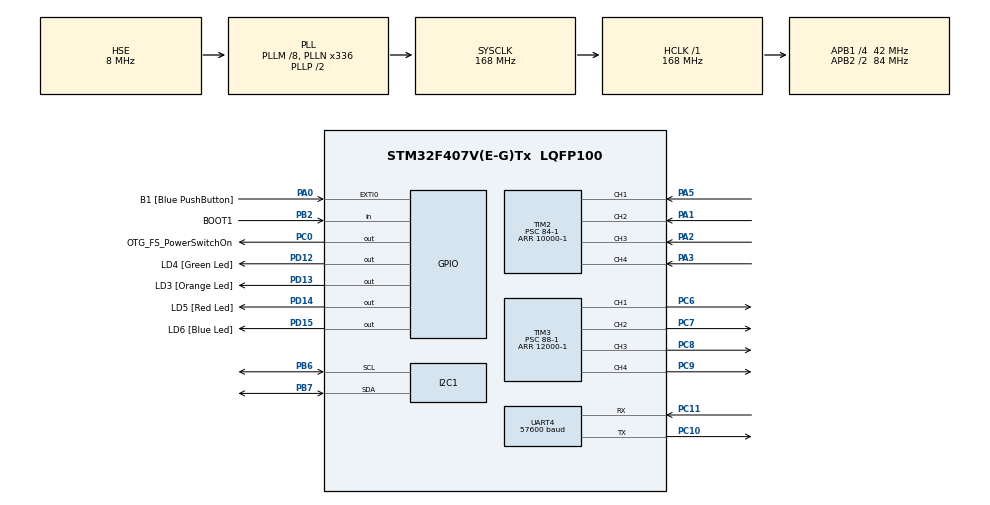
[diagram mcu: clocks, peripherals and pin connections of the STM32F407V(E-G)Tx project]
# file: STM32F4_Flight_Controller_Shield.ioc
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I2C1.DutyCycle=I2C_DUTYCYCLE_16_9
I2C1.I2C_Mode=I2C_Fast
Mcu.Family=STM32F4
Mcu.Name=STM32F407V(E-G)Tx
Mcu.Package=LQFP100
NVIC.FLASH_IRQn=true\:0\:0\:false\:false\:true\:true\:true
NVIC.I2C1_EV_IRQn=true\:0\:0\:false\:false\:true\:true\:true
NVIC.PriorityGroup=NVIC_PRIORITYGROUP_0
NVIC.TIM2_IRQn=true\:0\:0\:false\:false\:true\:true\:true
NVIC.TIM3_IRQn=true\:0\:0\:false\:false\:true\:true\:true
NVIC.UART4_IRQn=true\:0\:0\:false\:false\:true\:true\:true
PA0-WKUP.GPIO_Label=B1 [Blue PushButton]
PA0-WKUP.GPIO_ModeDefaultEXTI=GPIO_MODE_EVT_RISING
PA0-WKUP.GPIO_PuPd=GPIO_NOPULL
PA0-WKUP.Signal=GPXTI0
PA1.GPIO_Speed=GPIO_SPEED_FREQ_VERY_HIGH
PA1.Signal=S_TIM2_CH2
PA13.GPIO_Label=SWDIO
PA13.Mode=Serial_Wire
PA13.Signal=SYS_JTMS-SWDIO
PA14.GPIO_Label=SWCLK
PA14.Mode=Serial_Wire
PA14.Signal=SYS_JTCK-SWCLK
PA2.GPIO_Speed=GPIO_SPEED_FREQ_VERY_HIGH
PA2.Signal=S_TIM2_CH3
PA3.GPIO_Speed=GPIO_SPEED_FREQ_VERY_HIGH
PA3.Signal=S_TIM2_CH4
PA5.GPIO_Speed=GPIO_SPEED_FREQ_VERY_HIGH
PA5.Signal=S_TIM2_CH1_ETR
PB2.GPIO_Label=BOOT1
PB2.GPIO_Mode=GPIO_MODE_INPUT
PB2.GPIO_PuPd=GPIO_NOPULL
PB2.Signal=GPIO_Input
PB6.Mode=I2C
PB6.Signal=I2C1_SCL
PB7.Mode=I2C
PB7.Signal=I2C1_SDA
PC0.GPIO_Label=OTG_FS_PowerSwitchOn
PC0.GPIO_PuPd=GPIO_NOPULL
PC0.GPIO_Speed=GPIO_SPEED_FREQ_LOW
PC0.PinState=GPIO_PIN_SET
PC0.Signal=GPIO_Output
PC10.Mode=Asynchronous
PC10.Signal=UART4_TX
PC11.Mode=Asynchronous
PC11.Signal=UART4_RX
PC14-OSC32_IN.GPIO_Label=PC14-OSC32_IN
PC14-OSC32_IN.Mode=LSE-External-Oscillator
PC14-OSC32_IN.Signal=RCC_OSC32_IN
PC15-OSC32_OUT.GPIO_Label=PC15-OSC32_OUT
PC15-OSC32_OUT.Mode=LSE-External-Oscillator
PC15-OSC32_OUT.Signal=RCC_OSC32_OUT
PC6.GPIO_Speed=GPIO_SPEED_FREQ_VERY_HIGH
PC6.Signal=S_TIM3_CH1
PC7.GPIO_Speed=GPIO_SPEED_FREQ_VERY_HIGH
PC7.Signal=S_TIM3_CH2
PC8.GPIO_Speed=GPIO_SPEED_FREQ_VERY_HIGH
PC8.Signal=S_TIM3_CH3
PC9.GPIO_Speed=GPIO_SPEED_FREQ_VERY_HIGH
PC9.Signal=S_TIM3_CH4
PD12.GPIO_Label=LD4 [Green Led]
PD12.GPIO_PuPd=GPIO_NOPULL
PD12.GPIO_Speed=GPIO_SPEED_FREQ_LOW
PD12.Signal=GPIO_Output
PD13.GPIO_Label=LD3 [Orange Led]
PD13.GPIO_PuPd=GPIO_NOPULL
PD13.GPIO_Speed=GPIO_SPEED_FREQ_LOW
PD13.Signal=GPIO_Output
PD14.GPIO_Label=LD5 [Red Led]
PD14.GPIO_PuPd=GPIO_NOPULL
PD14.GPIO_Speed=GPIO_SPEED_FREQ_LOW
PD14.Signal=GPIO_Output
PD15.GPIO_Label=LD6 [Blue Led]
PD15.GPIO_PuPd=GPIO_NOPULL
PD15.GPIO_Speed=GPIO_SPEED_FREQ_LOW
PD15.Signal=GPIO_Output
PH0-OSC_IN.GPIO_Label=PH0-OSC_IN
PH0-OSC_IN.Mode=HSE-External-Oscillator
PH0-OSC_IN.Signal=RCC_OSC_IN
PH1-OSC_OUT.GPIO_Label=PH1-OSC_OUT
PH1-OSC_OUT.Mode=HSE-External-Oscillator
PH1-OSC_OUT.Signal=RCC_OSC_OUT
ProjectManager.HeapSize=0x200
ProjectManager.StackSize=0x400
ProjectManager.TargetToolchain=STM32CubeIDE
RCC.48MHZClocksFreq_Value=48000000
RCC.AHBFreq_Value=168000000
RCC.APB1CLKDivider=RCC_HCLK_DIV4
RCC.APB1Freq_Value=42000000
RCC.APB1TimFreq_Value=84000000
RCC.APB2CLKDivider=RCC_HCLK_DIV2
RCC.APB2Freq_Value=84000000
RCC.APB2TimFreq_Value=168000000
RCC.CortexFreq_Value=168000000
RCC.HCLKFreq_Value=168000000
RCC.HSE_VALUE=8000000
RCC.HSI_VALUE=16000000
RCC.PLLM=8
RCC.PLLN=336
RCC.PLLQ=7
RCC.PLLSourceVirtual=RCC_PLLSOURCE_HSE
RCC.SYSCLKFreq_VALUE=168000000
RCC.SYSCLKSource=RCC_SYSCLKSOURCE_PLLCLK
RCC.VCOOutputFreq_Value=336000000
SH.S_TIM2_CH1_ETR.0=TIM2_CH1,Input_Capture1_from_TI1
SH.S_TIM2_CH2.0=TIM2_CH2,Input_Capture2_from_TI2
SH.S_TIM2_CH3.0=TIM2_CH3,Input_Capture3_from_TI3
SH.S_TIM2_CH4.0=TIM2_CH4,Input_Capture4_from_TI4
SH.S_TIM3_CH1.0=TIM3_CH1,PWM Generation1 CH1
SH.S_TIM3_CH2.0=TIM3_CH2,PWM Generation2 CH2
SH.S_TIM3_CH3.0=TIM3_CH3,PWM Generation3 CH3
SH.S_TIM3_CH4.0=TIM3_CH4,PWM Generation4 CH4
TIM2.Channel-Input_Capture1_from_TI1=TIM_CHANNEL_1
TIM2.Channel-Input_Capture2_from_TI2=TIM_CHANNEL_2
TIM2.Channel-Input_Capture3_from_TI3=TIM_CHANNEL_3
TIM2.Channel-Input_Capture4_from_TI4=TIM_CHANNEL_4
TIM2.Period=10000-1
TIM2.Prescaler=84-1
TIM3.Channel-PWM\ Generation1\ CH1=TIM_CHANNEL_1
TIM3.Channel-PWM\ Generation2\ CH2=TIM_CHANNEL_2
TIM3.Channel-PWM\ Generation3\ CH3=TIM_CHANNEL_3
TIM3.Channel-PWM\ Generation4\ CH4=TIM_CHANNEL_4
TIM3.OCFastMode_PWM-PWM\ Generation1\ CH1=TIM_OCFAST_ENABLE
TIM3.OCFastMode_PWM-PWM\ Generation2\ CH2=TIM_OCFAST_ENABLE
TIM3.OCFastMode_PWM-PWM\ Generation3\ CH3=TIM_OCFAST_ENABLE
TIM3.OCFastMode_PWM-PWM\ Generation4\ CH4=TIM_OCFAST_ENABLE
TIM3.Period=12000-1
TIM3.Prescaler=88-1
TIM3.Pulse-PWM\ Generation1\ CH1=1000
TIM3.Pulse-PWM\ Generation2\ CH2=1000
TIM3.Pulse-PWM\ Generation3\ CH3=1000
TIM3.Pulse-PWM\ Generation4\ CH4=1000
UART4.BaudRate=57600
UART4.VirtualMode=Asynchronous
VP_TIM3_VS_ClockSourceINT.Mode=Internal
board=STM32F407G-DISC1

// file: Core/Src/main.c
/* USER CODE BEGIN Header */
/**
  ******************************************************************************
  * @file           : main.c
  * @brief          : Main program body
  ******************************************************************************
  * @attention
  *
  * <h2><center>&copy; Copyright (c) 2020 STMicroelectronics.
  * All rights reserved.</center></h2>
  *
  * This software component is licensed by ST under Ultimate Liberty license
  * SLA0044, the "License"; You may not use this file except in compliance with
  * the License. You may obtain a copy of the License at:
  *                             www.st.com/SLA0044
  *
  ******************************************************************************
  */
/* USER CODE END Header */

#include "main.h"

/* USER CODE BEGIN Includes */
#include "PWM_IC.h"
#include "L3GD20H.h"
///
#include "Setup_FC.h"
#include "ESC_Calibration.h"
#include "Flight_Control.h"

/* USER CODE END Includes */

/* USER CODE BEGIN PTD */
char uartTX[101];
///	Inputs
int receiver_input_channel_1, receiver_input_channel_2, receiver_input_channel_3, receiver_input_channel_4;
int16_t gX_Raw, gY_Raw, gZ_Raw;
///
bool gyro_error = false;
///	Outputs
int esc_1, esc_2, esc_3, esc_4;
double gyro_pitch, gyro_roll, gyro_yaw;
///
uint8_t eeprom_data[32] = {0,0,0,0,0,0,0,0,0,0,0,0,0,0,0,0,0,0,0,0,0,0,0,0,0,0,0,0,0,0,0,0};
/* USER CODE END PTD */

I2C_HandleTypeDef hi2c1;

TIM_HandleTypeDef htim2;
TIM_HandleTypeDef htim3;

UART_HandleTypeDef huart4;

void SystemClock_Config(void);
static void MX_GPIO_Init(void);
static void MX_I2C1_Init(void);
static void MX_TIM2_Init(void);
static void MX_TIM3_Init(void);
static void MX_UART4_Init(void);

int main(void)
{

  /* MCU Configuration--------------------------------------------------------*/

  /* Reset of all peripherals, Initializes the Flash interface and the Systick. */
  HAL_Init();

  /* Configure the system clock */
  SystemClock_Config();

  /* USER CODE BEGIN SysInit */
  HAL_Delay( 2500 );
  /* USER CODE END SysInit */

  /* Initialize all configured peripherals */
  MX_GPIO_Init();
  MX_I2C1_Init();
  MX_TIM2_Init();
  MX_TIM3_Init();
  MX_UART4_Init();
  /* USER CODE BEGIN 2 */

	// Flash to EEPROM Array
	Flash_EEPROM_Data_Read( 11, 0x080E0000,  0, &eeprom_data[0]);
	Flash_EEPROM_Data_Read( 11, 0x080E0000,  1, &eeprom_data[1]);
	Flash_EEPROM_Data_Read( 11, 0x080E0000,  2, &eeprom_data[2]);
	Flash_EEPROM_Data_Read( 11, 0x080E0000,  3, &eeprom_data[3]);
	Flash_EEPROM_Data_Read( 11, 0x080E0000,  4, &eeprom_data[4]);
	Flash_EEPROM_Data_Read( 11, 0x080E0000,  5, &eeprom_data[5]);
	Flash_EEPROM_Data_Read( 11, 0x080E0000,  6, &eeprom_data[6]);
	Flash_EEPROM_Data_Read( 11, 0x080E0000,  7, &eeprom_data[7]);
	Flash_EEPROM_Data_Read( 11, 0x080E0000,  8, &eeprom_data[8]);
	Flash_EEPROM_Data_Read( 11, 0x080E0000,  9, &eeprom_data[9]);
	Flash_EEPROM_Data_Read( 11, 0x080E0000, 10, &eeprom_data[10]);
	Flash_EEPROM_Data_Read( 11, 0x080E0000, 11, &eeprom_data[11]);
	Flash_EEPROM_Data_Read( 11, 0x080E0000, 12, &eeprom_data[12]);
	Flash_EEPROM_Data_Read( 11, 0x080E0000, 13, &eeprom_data[13]);
	Flash_EEPROM_Data_Read( 11, 0x080E0000, 14, &eeprom_data[14]);
	Flash_EEPROM_Data_Read( 11, 0x080E0000, 15, &eeprom_data[15]);
	Flash_EEPROM_Data_Read( 11, 0x080E0000, 16, &eeprom_data[16]);
	Flash_EEPROM_Data_Read( 11, 0x080E0000, 17, &eeprom_data[17]);
	Flash_EEPROM_Data_Read( 11, 0x080E0000, 18, &eeprom_data[18]);
	Flash_EEPROM_Data_Read( 11, 0x080E0000, 19, &eeprom_data[19]);
	Flash_EEPROM_Data_Read( 11, 0x080E0000, 20, &eeprom_data[20]);
	Flash_EEPROM_Data_Read( 11, 0x080E0000, 21, &eeprom_data[21]);
	Flash_EEPROM_Data_Read( 11, 0x080E0000, 22, &eeprom_data[22]);
	Flash_EEPROM_Data_Read( 11, 0x080E0000, 23, &eeprom_data[23]);
	Flash_EEPROM_Data_Read( 11, 0x080E0000, 24, &eeprom_data[24]);
	Flash_EEPROM_Data_Read( 11, 0x080E0000, 25, &eeprom_data[25]);
	Flash_EEPROM_Data_Read( 11, 0x080E0000, 26, &eeprom_data[26]);
	Flash_EEPROM_Data_Read( 11, 0x080E0000, 27, &eeprom_data[27]);
	Flash_EEPROM_Data_Read( 11, 0x080E0000, 28, &eeprom_data[28]);
	Flash_EEPROM_Data_Read( 11, 0x080E0000, 29, &eeprom_data[29]);
	Flash_EEPROM_Data_Read( 11, 0x080E0000, 30, &eeprom_data[30]);
	Flash_EEPROM_Data_Read( 11, 0x080E0000, 31, &eeprom_data[31]);

	L3GD20H_Init();
	PWM_IC_Start();
	///
	HAL_Delay( 2500 );
	///

	if( gyro_error == true )
	{
		  sprintf(uartTX, "                                                                                                    ");
		  sprintf(uartTX, "\nSystem failed to start!\n");
		  HAL_UART_Transmit( &huart4, (uint8_t *)uartTX, sizeof(uartTX), 100 );

		  while ( gyro_error ) {	} 		// Endless Loop
	}

	sprintf(uartTX, "                                                                                                    ");
	sprintf(uartTX, "\nSystem started!\n");
	HAL_UART_Transmit( &huart4, (uint8_t *)uartTX, sizeof(uartTX), 100 );
	HAL_Delay( 2500 );

	if ( eeprom_data[31] == 92 )
	{

		  while ( HAL_GPIO_ReadPin(GPIOA, GPIO_PIN_0) )
		  {
			  for (int i = 0; i <= 50000000; i++ )
			  {
				  if( i == 50000000 && HAL_GPIO_ReadPin(GPIOA, GPIO_PIN_0) )
				  {
					  sprintf(uartTX, "                                                                                                    ");
					  sprintf(uartTX, "\nESC Calibration is starting! Reset after calibration!\n");
					  HAL_UART_Transmit( &huart4, (uint8_t *)uartTX, sizeof(uartTX), 100 );

					  ESC_Calibration();
				  }
			  }
		  }

		  /////////////////////////////////////////////////////////////////////////

		  sprintf(uartTX, "                                                                                                    ");
		  sprintf(uartTX, "\nFlight Control Setup is starting!\n");
		  HAL_UART_Transmit( &huart4, (uint8_t *)uartTX, sizeof(uartTX), 100 );

		  Flight_Control_Setup();

		  sprintf(uartTX, "                                                                                                    ");
		  sprintf(uartTX, "\nFlight Control Setup is done! Ready to fly!\n");
		  HAL_UART_Transmit( &huart4, (uint8_t *)uartTX, sizeof(uartTX), 100 );
	}
	else
	{
		  sprintf(uartTX, "                                                                                                    ");
		  sprintf(uartTX, "\nGubba nub nub doo rah kah!\n");
		  HAL_UART_Transmit( &huart4, (uint8_t *)uartTX, sizeof(uartTX), 100 );

		  Flash_EraseSector( 11 );
	}

	sprintf(uartTX, "                                                                                                    ");
	sprintf(uartTX, "\nWhat up, my glip-glops!!!\n");
	HAL_UART_Transmit( &huart4, (uint8_t *)uartTX, sizeof(uartTX), 100 );

  /* USER CODE END 2 */

  /* Infinite loop */
  /* USER CODE BEGIN WHILE */
  while (1)
  {
	  if ( HAL_GPIO_ReadPin(GPIOA, GPIO_PIN_0) )
	  {
		  for (int i = 0; i <= 50000000; i++ )
		  {
			  if( i == 50000000 && HAL_GPIO_ReadPin(GPIOA, GPIO_PIN_0) )
			  {
				  sprintf(uartTX, "                                                                                                    ");
				  sprintf(uartTX, "\nSetup is starting..!\n");
				  HAL_UART_Transmit( &huart4, (uint8_t *)uartTX, sizeof(uartTX), 100 );

				  Main_Setup( );
			  }
		  }
	  }

    /* USER CODE END WHILE */

    /* USER CODE BEGIN 3 */

	  Flight_Control_Loop();
  }
  /* USER CODE END 3 */
}

void SystemClock_Config(void)
{
  RCC_OscInitTypeDef RCC_OscInitStruct = {0};
  RCC_ClkInitTypeDef RCC_ClkInitStruct = {0};

  /** Configure the main internal regulator output voltage
  */
  __HAL_RCC_PWR_CLK_ENABLE();
  __HAL_PWR_VOLTAGESCALING_CONFIG(PWR_REGULATOR_VOLTAGE_SCALE1);
  /** Initializes the CPU, AHB and APB busses clocks
  */
  RCC_OscInitStruct.OscillatorType = RCC_OSCILLATORTYPE_HSE;
  RCC_OscInitStruct.HSEState = RCC_HSE_ON;
  RCC_OscInitStruct.PLL.PLLState = RCC_PLL_ON;
  RCC_OscInitStruct.PLL.PLLSource = RCC_PLLSOURCE_HSE;
  RCC_OscInitStruct.PLL.PLLM = 8;
  RCC_OscInitStruct.PLL.PLLN = 336;
  RCC_OscInitStruct.PLL.PLLP = RCC_PLLP_DIV2;
  RCC_OscInitStruct.PLL.PLLQ = 7;
  if (HAL_RCC_OscConfig(&RCC_OscInitStruct) != HAL_OK)
  {
    Error_Handler();
  }
  /** Initializes the CPU, AHB and APB busses clocks
  */
  RCC_ClkInitStruct.ClockType = RCC_CLOCKTYPE_HCLK|RCC_CLOCKTYPE_SYSCLK|RCC_CLOCKTYPE_PCLK1|RCC_CLOCKTYPE_PCLK2;
  RCC_ClkInitStruct.SYSCLKSource = RCC_SYSCLKSOURCE_PLLCLK;
  RCC_ClkInitStruct.AHBCLKDivider = RCC_SYSCLK_DIV1;
  RCC_ClkInitStruct.APB1CLKDivider = RCC_HCLK_DIV4;
  RCC_ClkInitStruct.APB2CLKDivider = RCC_HCLK_DIV2;

  if (HAL_RCC_ClockConfig(&RCC_ClkInitStruct, FLASH_LATENCY_5) != HAL_OK)
  {
    Error_Handler();
  }
}

static void MX_I2C1_Init(void)
{

  hi2c1.Instance = I2C1;
  hi2c1.Init.ClockSpeed = 400000;
  hi2c1.Init.DutyCycle = I2C_DUTYCYCLE_16_9;
  hi2c1.Init.OwnAddress1 = 0;
  hi2c1.Init.AddressingMode = I2C_ADDRESSINGMODE_7BIT;
  hi2c1.Init.DualAddressMode = I2C_DUALADDRESS_DISABLE;
  hi2c1.Init.OwnAddress2 = 0;
  hi2c1.Init.GeneralCallMode = I2C_GENERALCALL_DISABLE;
  hi2c1.Init.NoStretchMode = I2C_NOSTRETCH_DISABLE;
  if (HAL_I2C_Init(&hi2c1) != HAL_OK)
  {
    Error_Handler();
  }

}

static void MX_TIM2_Init(void)
{

  TIM_MasterConfigTypeDef sMasterConfig = {0};
  TIM_IC_InitTypeDef sConfigIC = {0};

  htim2.Instance = TIM2;
  htim2.Init.Prescaler = 84-1;
  htim2.Init.CounterMode = TIM_COUNTERMODE_UP;
  htim2.Init.Period = 10000-1;
  htim2.Init.ClockDivision = TIM_CLOCKDIVISION_DIV1;
  htim2.Init.AutoReloadPreload = TIM_AUTORELOAD_PRELOAD_DISABLE;
  if (HAL_TIM_IC_Init(&htim2) != HAL_OK)
  {
    Error_Handler();
  }
  sMasterConfig.MasterOutputTrigger = TIM_TRGO_RESET;
  sMasterConfig.MasterSlaveMode = TIM_MASTERSLAVEMODE_DISABLE;
  if (HAL_TIMEx_MasterConfigSynchronization(&htim2, &sMasterConfig) != HAL_OK)
  {
    Error_Handler();
  }
  sConfigIC.ICPolarity = TIM_INPUTCHANNELPOLARITY_RISING;
  sConfigIC.ICSelection = TIM_ICSELECTION_DIRECTTI;
  sConfigIC.ICPrescaler = TIM_ICPSC_DIV1;
  sConfigIC.ICFilter = 0;
  if (HAL_TIM_IC_ConfigChannel(&htim2, &sConfigIC, TIM_CHANNEL_1) != HAL_OK)
  {
    Error_Handler();
  }
  if (HAL_TIM_IC_ConfigChannel(&htim2, &sConfigIC, TIM_CHANNEL_2) != HAL_OK)
  {
    Error_Handler();
  }
  if (HAL_TIM_IC_ConfigChannel(&htim2, &sConfigIC, TIM_CHANNEL_3) != HAL_OK)
  {
    Error_Handler();
  }
  if (HAL_TIM_IC_ConfigChannel(&htim2, &sConfigIC, TIM_CHANNEL_4) != HAL_OK)
  {
    Error_Handler();
  }

}

static void MX_TIM3_Init(void)
{

  TIM_ClockConfigTypeDef sClockSourceConfig = {0};
  TIM_MasterConfigTypeDef sMasterConfig = {0};
  TIM_OC_InitTypeDef sConfigOC = {0};

  htim3.Instance = TIM3;
  htim3.Init.Prescaler = 88-1;
  htim3.Init.CounterMode = TIM_COUNTERMODE_UP;
  htim3.Init.Period = 12000-1;
  htim3.Init.ClockDivision = TIM_CLOCKDIVISION_DIV1;
  htim3.Init.AutoReloadPreload = TIM_AUTORELOAD_PRELOAD_DISABLE;
  if (HAL_TIM_Base_Init(&htim3) != HAL_OK)
  {
    Error_Handler();
  }
  sClockSourceConfig.ClockSource = TIM_CLOCKSOURCE_INTERNAL;
  if (HAL_TIM_ConfigClockSource(&htim3, &sClockSourceConfig) != HAL_OK)
  {
    Error_Handler();
  }
  if (HAL_TIM_PWM_Init(&htim3) != HAL_OK)
  {
    Error_Handler();
  }
  sMasterConfig.MasterOutputTrigger = TIM_TRGO_RESET;
  sMasterConfig.MasterSlaveMode = TIM_MASTERSLAVEMODE_DISABLE;
  if (HAL_TIMEx_MasterConfigSynchronization(&htim3, &sMasterConfig) != HAL_OK)
  {
    Error_Handler();
  }
  sConfigOC.OCMode = TIM_OCMODE_PWM1;
  sConfigOC.Pulse = 1000;
  sConfigOC.OCPolarity = TIM_OCPOLARITY_HIGH;
  sConfigOC.OCFastMode = TIM_OCFAST_ENABLE;
  if (HAL_TIM_PWM_ConfigChannel(&htim3, &sConfigOC, TIM_CHANNEL_1) != HAL_OK)
  {
    Error_Handler();
  }
  if (HAL_TIM_PWM_ConfigChannel(&htim3, &sConfigOC, TIM_CHANNEL_2) != HAL_OK)
  {
    Error_Handler();
  }
  if (HAL_TIM_PWM_ConfigChannel(&htim3, &sConfigOC, TIM_CHANNEL_3) != HAL_OK)
  {
    Error_Handler();
  }
  if (HAL_TIM_PWM_ConfigChannel(&htim3, &sConfigOC, TIM_CHANNEL_4) != HAL_OK)
  {
    Error_Handler();
  }
  HAL_TIM_MspPostInit(&htim3);

}

static void MX_UART4_Init(void)
{

  huart4.Instance = UART4;
  huart4.Init.BaudRate = 57600;
  huart4.Init.WordLength = UART_WORDLENGTH_8B;
  huart4.Init.StopBits = UART_STOPBITS_1;
  huart4.Init.Parity = UART_PARITY_NONE;
  huart4.Init.Mode = UART_MODE_TX_RX;
  huart4.Init.HwFlowCtl = UART_HWCONTROL_NONE;
  huart4.Init.OverSampling = UART_OVERSAMPLING_16;
  if (HAL_UART_Init(&huart4) != HAL_OK)
  {
    Error_Handler();
  }

}

static void MX_GPIO_Init(void)
{
  GPIO_InitTypeDef GPIO_InitStruct = {0};

  /* GPIO Ports Clock Enable */
  __HAL_RCC_GPIOC_CLK_ENABLE();
  __HAL_RCC_GPIOH_CLK_ENABLE();
  __HAL_RCC_GPIOA_CLK_ENABLE();
  __HAL_RCC_GPIOB_CLK_ENABLE();
  __HAL_RCC_GPIOD_CLK_ENABLE();

  /*Configure GPIO pin Output Level */
  HAL_GPIO_WritePin(OTG_FS_PowerSwitchOn_GPIO_Port, OTG_FS_PowerSwitchOn_Pin, GPIO_PIN_SET);

  /*Configure GPIO pin Output Level */
  HAL_GPIO_WritePin(GPIOD, LD4_Pin|LD3_Pin|LD5_Pin|LD6_Pin, GPIO_PIN_RESET);

  /*Configure GPIO pin : OTG_FS_PowerSwitchOn_Pin */
  GPIO_InitStruct.Pin = OTG_FS_PowerSwitchOn_Pin;
  GPIO_InitStruct.Mode = GPIO_MODE_OUTPUT_PP;
  GPIO_InitStruct.Pull = GPIO_NOPULL;
  GPIO_InitStruct.Speed = GPIO_SPEED_FREQ_LOW;
  HAL_GPIO_Init(OTG_FS_PowerSwitchOn_GPIO_Port, &GPIO_InitStruct);

  /*Configure GPIO pin : B1_Pin */
  GPIO_InitStruct.Pin = B1_Pin;
  GPIO_InitStruct.Mode = GPIO_MODE_EVT_RISING;
  GPIO_InitStruct.Pull = GPIO_NOPULL;
  HAL_GPIO_Init(B1_GPIO_Port, &GPIO_InitStruct);

  /*Configure GPIO pin : BOOT1_Pin */
  GPIO_InitStruct.Pin = BOOT1_Pin;
  GPIO_InitStruct.Mode = GPIO_MODE_INPUT;
  GPIO_InitStruct.Pull = GPIO_NOPULL;
  HAL_GPIO_Init(BOOT1_GPIO_Port, &GPIO_InitStruct);

  /*Configure GPIO pins : LD4_Pin LD3_Pin LD5_Pin LD6_Pin */
  GPIO_InitStruct.Pin = LD4_Pin|LD3_Pin|LD5_Pin|LD6_Pin;
  GPIO_InitStruct.Mode = GPIO_MODE_OUTPUT_PP;
  GPIO_InitStruct.Pull = GPIO_NOPULL;
  GPIO_InitStruct.Speed = GPIO_SPEED_FREQ_LOW;
  HAL_GPIO_Init(GPIOD, &GPIO_InitStruct);

}

void Error_Handler(void)
{
}

/************************ (C) COPYRIGHT STMicroelectronics *****END OF FILE****/
